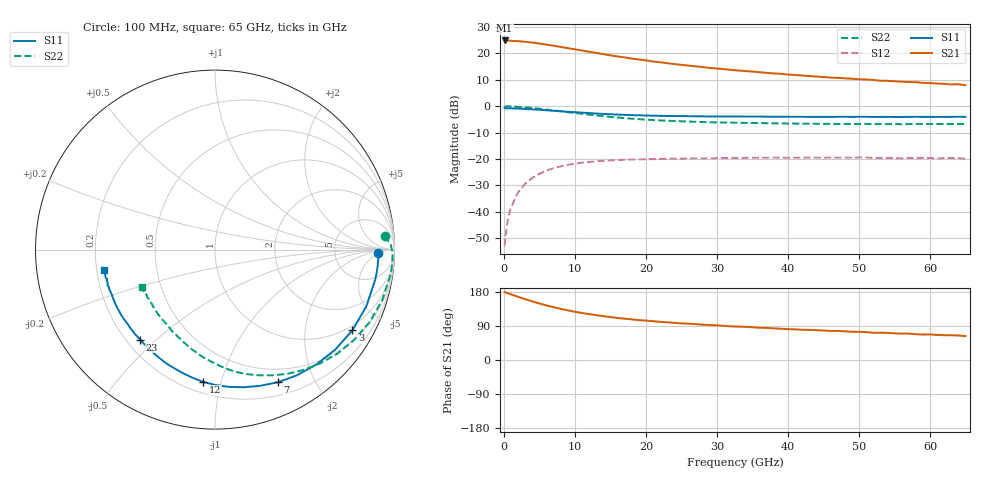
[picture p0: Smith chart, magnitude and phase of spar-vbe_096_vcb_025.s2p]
!ATF-54143
!s-parameters at Vbe=0.96V Last updated 17/05/01 AR.
# HZ S RI R 50
! Freq  S11  S21  S12  S22
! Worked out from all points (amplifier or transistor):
!   74 points, 100 MHz to 65 GHz, reference 50 ohm
!   highest |S21| = 24.9 dB at 100 MHz (marker M1)
!   |S21| within 3 dB of that: start of sweep to 9.185 GHz
!   unconditionally stable (mu >= 1): nowhere
!   at 4 GHz: K = 0.05, MSG = 25.6 dB, |S12| = -27.2 dB
!   at 29 GHz: K = 0.37, MSG = 17.1 dB, |S12| = -19.8 dB
!   at 65 GHz: K = 0.81, MSG = 13.9 dB, |S12| = -19.9 dB
!   S11 on the Smith chart (normalised r, x): 100 MHz: 21, -4; 3 GHz: 0.83, -3.50; 7 GHz: 0.34, -1.53; 12 GHz: 0.27, -0.88; 23 GHz: 0.25, -0.44; 65 GHz: 0.23, -0.09
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1e8  0.9107 -0.018  -17.56 0.1343  -0.000743 0.0021  0.9448 0.0759
5e8  0.9069 -0.0829  -17.42 1.058  0.000306 0.00631  0.9887 -0.0518
1e9  0.8936 -0.1646  -17.19 2.044  0.00141 0.012  0.9783 -0.1377
2e9  0.8432 -0.316  -16.59 3.892  0.00514 0.0228  0.9314 -0.2831
3e9  0.7658 -0.449  -15.64 5.539  0.0107 0.0323  0.8607 -0.4054
4e9  0.6705 -0.557  -14.46 6.87  0.0176 0.0401  0.7743 -0.504
5e9  0.5655 -0.6396  -13.2 7.891  0.0252 0.046  0.6813 -0.5798
6e9  0.4577 -0.6999  -11.88 8.622  0.033 0.0503  0.5851 -0.6347
7e9  0.3514 -0.7387  -10.59 9.089  0.0408 0.053  0.4898 -0.6715
9e9  0.1598 -0.7669  -8.251 9.463  0.0547 0.0548  0.3193 -0.7006
1.1e10  0.00214 -0.7544  -6.345 9.383  0.0662 0.0533  0.1783 -0.6939
1.2e10  -0.0651 -0.7375  -5.541 9.191  0.071 0.0518  0.1168 -0.6817
1.4e10  -0.1724 -0.6919  -4.209 8.729  0.0784 0.0483  0.0199 -0.6447
1.6e10  -0.2525 -0.6461  -3.13 8.174  0.084 0.0447  -0.0535 -0.6074
1.9e10  -0.3404 -0.5779  -2.009 7.385  0.0897 0.0394  -0.1334 -0.5522
2.2e10  -0.4018 -0.519  -1.252 6.663  0.0937 0.0356  -0.1875 -0.5029
2.3e10  -0.4173 -0.5016  -1.082 6.43  0.0948 0.0343  -0.2027 -0.4891
2.8e10  -0.4813 -0.4227  -0.3079 5.5  0.0989 0.0279  -0.2622 -0.4259
3.3e10  -0.5254 -0.3599  0.1578 4.73  0.1021 0.0236  -0.3024 -0.3795
4.4e10  -0.576 -0.2485  0.7109 3.571  0.1052 0.0131  -0.356 -0.2977
5.5e10  -0.6007 -0.1676  0.9984 2.803  0.104 0.00488  -0.387 -0.2432
6.5e10  -0.6166 -0.1152  1.135 2.231  0.1012 -0.00107  -0.4082 -0.2091
